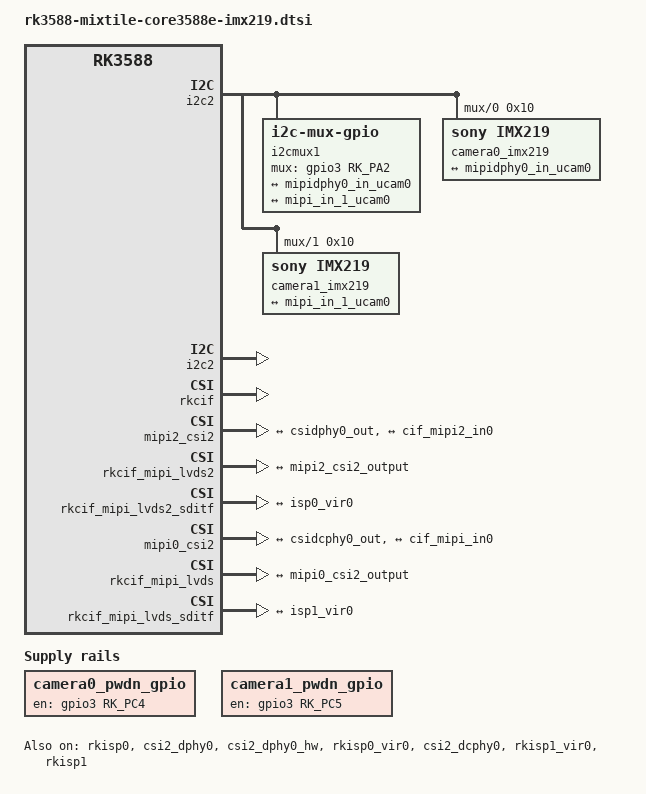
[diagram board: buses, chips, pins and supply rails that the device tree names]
// SPDX-License-Identifier: (GPL-2.0+ OR MIT)
/*
 * CORE3588E V1 dual IMX219 - ported from mixtile ubuntu/kernel5.10 to BSP 6.1
 *
 * Topology (unchanged from 5.10):
 *   camera0 @ i2c_cam0 0x10 -> csi2_dphy0  (D-PHY,  2 lane) -> mipi2_csi2 -> rkcif_mipi_lvds2 -> rkisp0
 *   camera1 @ i2c_cam1 0x10 -> csi2_dcphy0 (DC-PHY, 2 lane) -> mipi0_csi2 -> rkcif_mipi_lvds  -> rkisp1
 *   Both sensors share address 0x10; i2c-mux-gpio on i2c2 selects between them.
 *
 * 6.1 delta vs 5.10:
 *   - Dropped `&mipi_dcphy0 { status = "okay"; }`.
 *     In 6.1 the label `mipi_dcphy0` resolves to /mipi-dcphy-dummy (a placeholder with
 *     no compatible/reg). The real DC-PHY is labelled `mipidcphy0` (/phy@feda0000,
 *     compatible rockchip,rk3588-mipi-dcphy) and is already status = "okay" in the
 *     base SoC dtsi, so nothing needs enabling. Keeping the 5.10 line would silently
 *     do nothing and leave camera1 broken-looking with no obvious cause.
 *   - Everything else verified present in the 6.1 DTB __symbols__: csi2_dphy0,
 *     csi2_dphy0_hw, csi2_dcphy0, mipi0_csi2, mipi2_csi2, rkcif, rkcif_mmu,
 *     rkcif_mipi_lvds{,2}, rkcif_mipi_lvds{,2}_sditf, rkisp0, rkisp1, isp0_mmu,
 *     isp1_mmu, rkisp0_vir0, rkisp1_vir0, i2c2, i2c2m4_xfer,
 *     mipim1_camera0_clk, mipim1_camera1_clk.
 *   - clk_mipi_camaraout_m0 / m1 both exist in the 6.1 CRU (24 MHz).
 *   - GPIO3 PA2 (98) / PC4 (116) / PC5 (117) are free - no consumer conflict.
 *
 * Requires (currently NOT set in the 6.1 defconfig):
 *   CONFIG_VIDEO_IMX219=y
 *   CONFIG_I2C_MUX_GPIO=y      (CONFIG_I2C_MUX=y is already set)
 * Already set: PHY_ROCKCHIP_CSI2_DPHY, PHY_ROCKCHIP_SAMSUNG_DCPHY,
 *              VIDEO_ROCKCHIP_CIF, VIDEO_ROCKCHIP_ISP, V4L2_FWNODE,
 *              VIDEO_V4L2_SUBDEV_API, REGULATOR_FIXED_VOLTAGE.
 *
 * Leave rkisp-unite@fdcb0000 disabled - this config uses rkisp0/rkisp1 separately.
 */

/ {
	camera0_pwdn_gpio: camera0-pwdn-gpio {
		status = "okay";
		compatible = "regulator-fixed";
		regulator-name = "camera0_pwdn_gpio";
		regulator-always-on;
		regulator-boot-on;
		enable-active-high;
		gpio = <&gpio3 RK_PC4 GPIO_ACTIVE_HIGH>;
	};

	camera1_pwdn_gpio: camera1-pwdn-gpio {
		status = "okay";
		compatible = "regulator-fixed";
		regulator-name = "camera1_pwdn_gpio";
		regulator-always-on;
		regulator-boot-on;
		enable-active-high;
		gpio = <&gpio3 RK_PC5 GPIO_ACTIVE_HIGH>;
	};

	i2cmux1: i2cmux1 {
		compatible = "i2c-mux-gpio";
		#address-cells = <1>;
		#size-cells = <0>;
		i2c-parent = <&i2c2>;
		mux-gpios = <&gpio3 RK_PA2 GPIO_ACTIVE_HIGH>;

		i2c_cam0: i2c@0 {
			reg = <0>;
			#address-cells = <1>;
			#size-cells = <0>;
		};

		i2c_cam1: i2c@1 {
			reg = <1>;
			#address-cells = <1>;
			#size-cells = <0>;
		};
	};
};

&i2c2 {
	status = "okay";
	pinctrl-names = "default";
	pinctrl-0 = <&i2c2m4_xfer>;
};

&i2cmux1 {
	status = "okay";
};

&rkcif {
	status = "okay";
};

&rkcif_mmu {
	status = "okay";
};

&rkisp0 {
	status = "okay";
};

&isp0_mmu {
	status = "okay";
};

/* ---------------- camera0: i2c_cam0 -> csi2_dphy0 -> mipi2_csi2 -> rkisp0 ---------------- */

&i2c_cam0 {
	camera0_imx219: camera0-imx219@10 {
		status = "okay";
		compatible = "sony,imx219";
		reg = <0x10>;
		clocks = <&cru CLK_MIPI_CAMARAOUT_M0>;
		clock-names = "xvclk";
		pinctrl-names = "default";
		pinctrl-0 = <&mipim1_camera0_clk>;
		power-domains = <&power RK3588_PD_VI>;
		rockchip,camera-module-index = <0>;
		rockchip,camera-module-facing = "back";
		rockchip,camera-module-name = "rpi-camera-v2";
		rockchip,camera-module-lens-name = "default";

		port {
			imx219_out0: endpoint {
				remote-endpoint = <&mipidphy0_in_ucam0>;
				data-lanes = <1 2>;
				link-frequencies = /bits/ 64 <456000000>;
			};
		};
	};
};

&csi2_dphy0 {
	status = "okay";

	ports {
		#address-cells = <1>;
		#size-cells = <0>;

		port@0 {
			reg = <0>;
			#address-cells = <1>;
			#size-cells = <0>;

			mipidphy0_in_ucam0: endpoint@1 {
				reg = <1>;
				remote-endpoint = <&imx219_out0>;
				data-lanes = <1 2>;
			};
		};

		port@1 {
			reg = <1>;
			#address-cells = <1>;
			#size-cells = <0>;

			csidphy0_out: endpoint@0 {
				reg = <0>;
				remote-endpoint = <&mipi2_csi2_input>;
			};
		};
	};
};

&csi2_dphy0_hw {
	status = "okay";
};

&mipi2_csi2 {
	status = "okay";

	ports {
		#address-cells = <1>;
		#size-cells = <0>;

		port@0 {
			reg = <0>;
			#address-cells = <1>;
			#size-cells = <0>;

			mipi2_csi2_input: endpoint@1 {
				reg = <1>;
				remote-endpoint = <&csidphy0_out>;
			};
		};

		port@1 {
			reg = <1>;
			#address-cells = <1>;
			#size-cells = <0>;

			mipi2_csi2_output: endpoint@0 {
				reg = <0>;
				remote-endpoint = <&cif_mipi2_in0>;
			};
		};
	};
};

&rkcif_mipi_lvds2 {
	status = "okay";

	port {
		cif_mipi2_in0: endpoint {
			remote-endpoint = <&mipi2_csi2_output>;
		};
	};
};

&rkcif_mipi_lvds2_sditf {
	status = "okay";

	port {
		mipi_lvds2_sditf: endpoint {
			remote-endpoint = <&isp0_vir0>;
		};
	};
};

&rkisp0_vir0 {
	status = "okay";

	port {
		#address-cells = <1>;
		#size-cells = <0>;

		isp0_vir0: endpoint@0 {
			reg = <0>;
			remote-endpoint = <&mipi_lvds2_sditf>;
		};
	};
};

/* ---------------- camera1: i2c_cam1 -> csi2_dcphy0 -> mipi0_csi2 -> rkisp1 ---------------- */

&i2c_cam1 {
	camera1_imx219: camera1-imx219@10 {
		status = "okay";
		compatible = "sony,imx219";
		reg = <0x10>;
		clocks = <&cru CLK_MIPI_CAMARAOUT_M1>;
		clock-names = "xvclk";
		pinctrl-names = "default";
		pinctrl-0 = <&mipim1_camera1_clk>;
		power-domains = <&power RK3588_PD_VI>;
		rockchip,camera-module-index = <1>;
		rockchip,camera-module-facing = "back";
		rockchip,camera-module-name = "rpi-camera-v2";
		rockchip,camera-module-lens-name = "default";

		port {
			imx219_out1: endpoint {
				remote-endpoint = <&mipi_in_1_ucam0>;
				data-lanes = <1 2>;
				link-frequencies = /bits/ 64 <456000000>;
			};
		};
	};
};

&csi2_dcphy0 {
	status = "okay";

	ports {
		#address-cells = <1>;
		#size-cells = <0>;

		port@0 {
			reg = <0>;
			#address-cells = <1>;
			#size-cells = <0>;

			mipi_in_1_ucam0: endpoint@1 {
				reg = <1>;
				remote-endpoint = <&imx219_out1>;
				data-lanes = <1 2>;
			};
		};

		port@1 {
			reg = <1>;
			#address-cells = <1>;
			#size-cells = <0>;

			csidcphy0_out: endpoint@0 {
				reg = <0>;
				remote-endpoint = <&mipi0_csi2_input>;
			};
		};
	};
};

/*
 * 5.10 had `&mipi_dcphy0 { status = "okay"; };` here.
 * Dropped on purpose - see the 6.1 delta note in the file header.
 * The real DC-PHY (label mipidcphy0 = /phy@feda0000) is already enabled by the SoC dtsi.
 */

&mipi0_csi2 {
	status = "okay";

	ports {
		#address-cells = <1>;
		#size-cells = <0>;

		port@0 {
			reg = <0>;
			#address-cells = <1>;
			#size-cells = <0>;

			mipi0_csi2_input: endpoint@1 {
				reg = <1>;
				remote-endpoint = <&csidcphy0_out>;
			};
		};

		port@1 {
			reg = <1>;
			#address-cells = <1>;
			#size-cells = <0>;

			mipi0_csi2_output: endpoint@0 {
				reg = <0>;
				remote-endpoint = <&cif_mipi_in0>;
			};
		};
	};
};

&rkcif_mipi_lvds {
	status = "okay";

	port {
		cif_mipi_in0: endpoint {
			remote-endpoint = <&mipi0_csi2_output>;
		};
	};
};

&rkcif_mipi_lvds_sditf {
	status = "okay";

	port {
		mipi1_lvds_sditf: endpoint {
			remote-endpoint = <&isp1_vir0>;
		};
	};
};

&rkisp1_vir0 {
	status = "okay";

	port {
		#address-cells = <1>;
		#size-cells = <0>;

		isp1_vir0: endpoint@0 {
			reg = <0>;
			remote-endpoint = <&mipi1_lvds_sditf>;
		};
	};
};

&rkisp1 {
	status = "okay";
};

&isp1_mmu {
	status = "okay";
};
